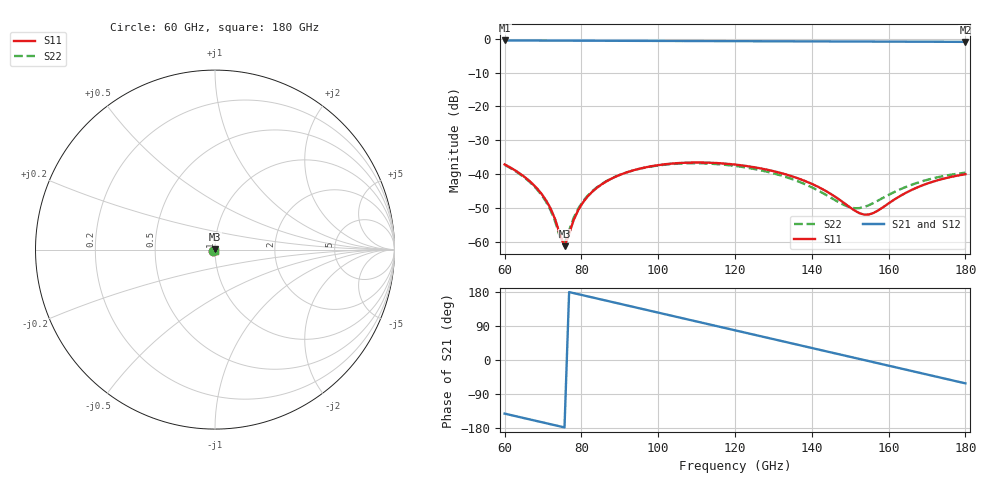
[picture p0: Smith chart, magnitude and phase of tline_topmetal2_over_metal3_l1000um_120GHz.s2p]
#  GHZ S DB R 50
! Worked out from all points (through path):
!   101 points, 60 GHz to 180 GHz, reference 50 ohm
!   highest |S21| = -0.54 dB at 60 GHz (marker M1); lowest = -1.0 dB at 180 GHz (marker M2)
!   group delay of S21, straight-line fit = 6.48 ps
!   lowest |S11| = -61.2 dB at 75.6 GHz (marker M3), VSWR 1.00, Z = 50 + j0.0868 ohm
!   |S11| at or under -10 dB: start of sweep to end of sweep
!   |S22| runs from -60.5 to -36.8 dB; largest |S21 - S12| = 1.6e-14
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60  -37.10 -137.6  -0.54 -141.5  -0.54 -141.5  -37.24 -137.9
66  -41.53 -155.8  -0.57 -155.5  -0.57 -155.5  -41.76 -156.4
69.6  -45.75 -169.1  -0.58 -163.9  -0.58 -163.9  -46.10 -170.2
72  -50.16 177.9  -0.59 -169.5  -0.59 -169.5  -50.68 175.8
73.2  -53.39 167.0  -0.59 -172.3  -0.59 -172.3  -54.06 163.3
74.4  -57.80 145.3  -0.59 -175.1  -0.59 -175.1  -58.49 137.2
75.6  -61.22 92.3  -0.60 -177.9  -0.60 -177.9  -60.51 81.0
78  -53.47 22.3  -0.61 176.5  -0.61 176.5  -52.79 21.5
80.4  -48.33 4.8  -0.61 170.8  -0.61 170.8  -47.99 4.8
84  -44.04 -10.1  -0.63 162.4  -0.63 162.4  -43.89 -10.0
88.8  -40.78 -25.6  -0.64 151.2  -0.64 151.2  -40.74 -25.7
100.8  -37.19 -60.4  -0.68 123.2  -0.68 123.2  -37.31 -60.7
110.4  -36.54 -87.3  -0.72 100.8  -0.72 100.8  -36.78 -88.1
120  -37.15 -114.3  -0.75 78.4  -0.75 78.4  -37.56 -115.8
129.6  -38.98 -142.6  -0.79 56.0  -0.79 56.0  -39.62 -145.5
140.4  -43.05 -179.7  -0.82 30.8  -0.82 30.8  -44.09 172.5
148.8  -48.81 134.0  -0.85 11.2  -0.85 11.2  -49.28 113.1
153.6  -51.90 81.0  -0.86 -0.0  -0.86 -0.0  -49.69 59.6
156  -51.47 49.0  -0.87 -5.6  -0.87 -5.6  -48.52 36.1
160.8  -47.99 3.7  -0.89 -16.8  -0.89 -16.8  -45.63 2.3
169.2  -43.11 -38.6  -0.92 -36.4  -0.92 -36.4  -41.92 -36.1
180  -40.00 -76.9  -0.96 -61.6  -0.96 -61.6  -39.55 -74.7
